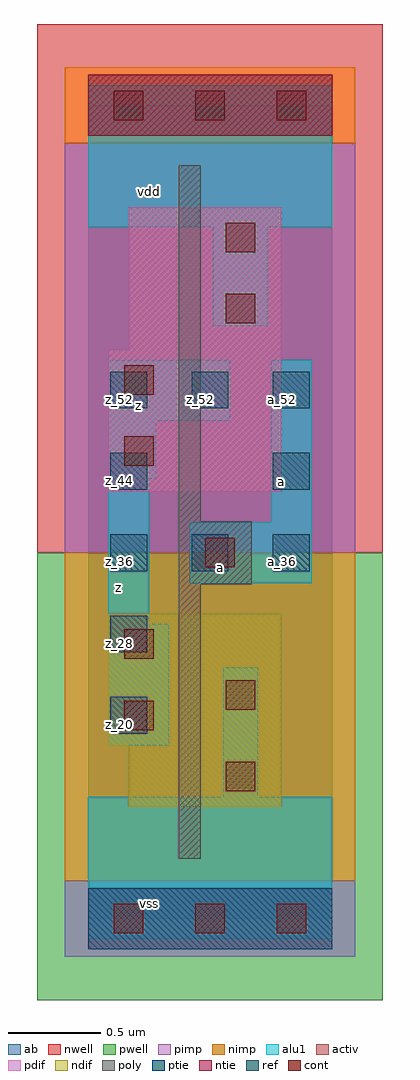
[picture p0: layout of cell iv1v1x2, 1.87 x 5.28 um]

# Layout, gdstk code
import gdstk
lib = gdstk.Library(unit=1e-6, precision=2.5e-09)
def R(c, l, rs):  # rectangles x0, y0, x1, y1
    for r in rs: c.add(gdstk.rectangle(r[:2], r[2:], *l))
def A(c, l, x, y, w, h, nx, ny, dx, dy):  # array of equal rectangles
    R(c, l, [(x+i*dx, y+j*dy, x+i*dx+w, y+j*dy+h) for i in range(nx) for j in range(ny)])
ndif = (3, 0)
pdif = (4, 0)
ntie = (5, 0)
ptie = (6, 0)
ref = (24, 0)
cont = (25, 0)
pwell = (41, 0)
nwell = (42, 0)
activ = (43, 0)
pimp = (44, 0)
nimp = (45, 0)
poly = (46, 0)
alu1 = (49, 0)
ab = (63, 0)

iv1v1x2 = lib.new_cell('iv1v1x2')
R(iv1v1x2, ndif, [(0.22,0.605,1.045,0.935), (0.11,0.935,1.045,1.65)])
R(iv1v1x2, pdif, [(0.11,2.31,1.045,3.08), (0.22,3.08,1.045,3.85)])
R(iv1v1x2, ntie, [(0,4.235,1.32,4.565)])
R(iv1v1x2, ptie, [(0,-0.165,1.32,0.165)])
A(iv1v1x2, ref, 0.12, 1.88, 0.2, 0.2, 3, 2, 0.44, 0.88)
R(iv1v1x2, ref, [(0.12,1,0.32,1.2), (0.12,1.44,0.32,1.64), (0.12,2.32,0.32,2.52), (1,2.32,1.2,2.52)])
A(iv1v1x2, cont, 0.14, -0.08, 0.16, 0.16, 3, 2, 0.44, 4.4)
R(iv1v1x2, cont, [(0.745,0.69,0.905,0.85), (0.195,1.02,0.355,1.18), (0.745,1.13,0.905,1.29), (0.195,1.405,0.355,1.565), (0.635,1.9,0.795,2.06), (0.195,2.45,0.355,2.61), (0.195,2.835,0.355,2.995), (0.745,3.22,0.905,3.38), (0.745,3.605,0.905,3.765)])
R(iv1v1x2, pwell, [(-0.275,-0.44,1.595,1.98)])
R(iv1v1x2, nwell, [(-0.275,1.98,1.595,4.84)])
R(iv1v1x2, activ, [(0,-0.165,1.32,0.165), (0.22,0.605,1.045,0.935), (0.11,0.935,1.045,1.65), (0.11,2.31,1.045,3.08), (0.22,3.08,1.045,3.85), (0,4.235,1.32,4.565)])
R(iv1v1x2, pimp, [(-0.125,-0.205,1.445,0.205), (-0.125,1.98,1.445,4.195)])
R(iv1v1x2, nimp, [(-0.125,0.205,1.445,1.98), (-0.125,4.195,1.445,4.605)])
R(iv1v1x2, poly, [(0.49,0.325,0.61,1.81), (0.49,1.81,0.885,2.15), (0.49,2.15,0.61,4.075)])
R(iv1v1x2, alu1, [(0,-0.11,1.32,0.66), (0.73,0.66,0.92,1.36), (0.11,0.935,0.44,1.595), (0.11,1.595,0.33,2.38), (0.55,1.815,1.21,2.145), (0.99,2.145,1.21,3.025), (0.11,2.38,0.37,2.695), (0.11,2.695,0.77,3.025), (0.675,3.205,0.975,3.74), (0,3.74,1.32,4.51)])
R(iv1v1x2, ab, [(0,0,1.32,4.4)])
iv1v1x2.add(gdstk.Label('vss', (0.33,0.0825), layer=49, texttype=0))
iv1v1x2.add(gdstk.Label('a', (0.715,1.8975), layer=49, texttype=0))
iv1v1x2.add(gdstk.Label('a', (1.045,2.365), layer=49, texttype=0))
iv1v1x2.add(gdstk.Label('z', (0.165,1.79), layer=49, texttype=0))
iv1v1x2.add(gdstk.Label('z', (0.275,2.7775), layer=49, texttype=0))
iv1v1x2.add(gdstk.Label('vdd', (0.33,3.9325), layer=49, texttype=0))
iv1v1x2.add(gdstk.Label('a_36', (0.61,1.93), layer=24, texttype=0))
iv1v1x2.add(gdstk.Label('z_52', (0.61,2.81), layer=24, texttype=0))
iv1v1x2.add(gdstk.Label('a_36', (1.05,1.93), layer=24, texttype=0))
iv1v1x2.add(gdstk.Label('a_44', (1.05,2.37), layer=24, texttype=0))
iv1v1x2.add(gdstk.Label('a_52', (1.05,2.81), layer=24, texttype=0))
iv1v1x2.add(gdstk.Label('z_20', (0.17,1.05), layer=24, texttype=0))
iv1v1x2.add(gdstk.Label('z_28', (0.17,1.49), layer=24, texttype=0))
iv1v1x2.add(gdstk.Label('z_36', (0.17,1.93), layer=24, texttype=0))
iv1v1x2.add(gdstk.Label('z_44', (0.17,2.37), layer=24, texttype=0))
iv1v1x2.add(gdstk.Label('z_52', (0.17,2.81), layer=24, texttype=0))

lib.write_gds('iv1v1x2.gds')
